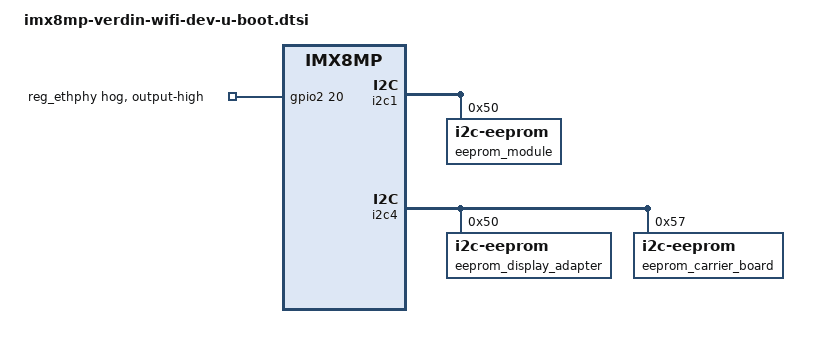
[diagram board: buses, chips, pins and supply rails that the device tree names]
// SPDX-License-Identifier: GPL-2.0-or-later OR MIT
/*
 * Copyright 2022 Toradex
 */

#include "imx8mp-sec-def.h"
#include "imx8mp-u-boot.dtsi"

/ {
	aliases {
		eeprom0 = &eeprom_module;
		eeprom1 = &eeprom_carrier_board;
		eeprom2 = &eeprom_display_adapter;
	};

	sysinfo {
		compatible = "toradex,sysinfo";
	};

	wdt-reboot {
		compatible = "wdt-reboot";
		bootph-pre-ram;
		wdt = <&wdog1>;
	};

	mcu_rdc {
		compatible = "imx8m,mcu_rdc";
			    /* rdc config when MCU starts
			     * master
			     *   SDMA3p --> domain 1
			     *   SDMA3b --> domain 1
			     *   SDMA3_SPBA2 --> domain 1
			     * peripheral:
			     *   SAI3   --> Only domain 1 can access
			     *   UART4  --> Only domain 1 can access
			     *   GPT1   --> Only domain 1 can access
			     *   SDMA3  --> Only domain 1 can access
			     *   I2C3   --> Only domain 1 can access
			     * memory:
			     *   TCM    --> Only domain 1 can access (0x7E0000~0x81FFFF)
			     *   DDR    --> Only domain 1 can access (0x80000000~0x81000000)
			     * end.
			     */
		start-config = <
			    RDC_MDA  RDC_MDA_SDMA3p DID1 0x0 0x0
			    RDC_MDA  RDC_MDA_SDMA3b DID1 0x0 0x0
			    RDC_MDA  RDC_MDA_SDMA3_SPBA2 DID1 0x0 0x0
			    RDC_PDAP RDC_PDAP_SAI3  PDAP_D1_ACCESS 0x0 0x0
			    RDC_PDAP RDC_PDAP_UART4 PDAP_D1_ACCESS 0x0 0x0
			    RDC_PDAP RDC_PDAP_GPT1  PDAP_D1_ACCESS 0x0 0x0
			    RDC_PDAP RDC_PDAP_SDMA3 PDAP_D1_ACCESS 0x0 0x0
			    RDC_PDAP RDC_PDAP_I2C3  PDAP_D1_ACCESS 0x0 0x0
			    RDC_MEM_REGION 22 TCM_START TCM_END MEM_D1_ACCESS
			    RDC_MEM_REGION 39 M4_DDR_START M4_DDR_END MEM_D1_ACCESS
			    0x0      0x0            0x0  0x0 0x0
			  >;
			    /* rdc config when MCU stops
			     * memory:
			     *   TCM    --> domain 0/1 can access (0x7E0000~0x81FFFF)
			     *   DDR    --> domain 0/1 can access (0x80000000~0x81000000)
			     * end.
			     */
		stop-config = <
			    RDC_MEM_REGION 22 TCM_START TCM_END MEM_D0D1_ACCESS
			    RDC_MEM_REGION 39 M4_DDR_START M4_DDR_END MEM_D0D1_ACCESS
			    0x0      0x0            0x0  0x0 0x0
			  >;
	};
};

&clk {
	bootph-all;
	bootph-pre-ram;
	/delete-property/ assigned-clocks;
	/delete-property/ assigned-clock-parents;
	/delete-property/ assigned-clock-rates;

};

&gpio1 {
	bootph-pre-ram;
};

&gpio2 {
	bootph-pre-ram;

	regulator-ethphy {
		gpio-hog;
		gpios = <20 GPIO_ACTIVE_HIGH>;
		line-name = "reg_ethphy";
		output-high;
		pinctrl-names = "default";
		pinctrl-0 = <&pinctrl_reg_eth>;
	};
};

&gpio3 {
	bootph-pre-ram;
};

&gpio4 {
	bootph-pre-ram;

	ctrl-sleep-moci-hog {
		bootph-pre-ram;
	};
};

&gpio5 {
	bootph-pre-ram;
};

&i2c1 {
	bootph-pre-ram;

	eeprom_module: eeprom@50 {
		compatible = "i2c-eeprom";
		pagesize = <16>;
		reg = <0x50>;
	};
};

&i2c2 {
	bootph-pre-ram;
};

&i2c3 {
	bootph-pre-ram;
};

&i2c4 {
	/* EEPROM on display adapter (MIPI DSI Display Adapter) */
	eeprom_display_adapter: eeprom@50 {
		compatible = "i2c-eeprom";
		pagesize = <16>;
		reg = <0x50>;
	};

	/* EEPROM on carrier board */
	eeprom_carrier_board: eeprom@57 {
		compatible = "i2c-eeprom";
		pagesize = <16>;
		reg = <0x57>;
	};
};

&pca9450 {
	bootph-pre-ram;
};

&pinctrl_ctrl_sleep_moci {
	bootph-pre-ram;
};

&pinctrl_i2c1 {
	bootph-pre-ram;
};

&pinctrl_usdhc2_pwr_en {
	bootph-pre-ram;
	u-boot,off-on-delay-us = <20000>;
};

&pinctrl_uart3 {
	bootph-pre-ram;
};

&pinctrl_usdhc2_cd {
	bootph-pre-ram;
};

&pinctrl_usdhc2 {
	bootph-pre-ram;
};

&pinctrl_usdhc3 {
	bootph-pre-ram;
};

&pinctrl_wdog {
	bootph-pre-ram;
};

&reg_usdhc2_vmmc {
	bootph-pre-ram;
};

&uart3 {
	bootph-pre-ram;
};

&usdhc1 {
	status = "disabled";
};

&usdhc2 {
	assigned-clock-parents = <&clk IMX8MP_SYS_PLL1_400M>;
	assigned-clock-rates = <400000000>;
	assigned-clocks = <&clk IMX8MP_CLK_USDHC2>;
	sd-uhs-ddr50;
	sd-uhs-sdr104;
	bootph-pre-ram;
};

&usdhc3 {
	assigned-clock-parents = <&clk IMX8MP_SYS_PLL1_400M>;
	assigned-clock-rates = <400000000>;
	assigned-clocks = <&clk IMX8MP_CLK_USDHC3>;
	mmc-hs400-1_8v;
	mmc-hs400-enhanced-strobe;
	bootph-pre-ram;
};

&wdog1 {
	bootph-pre-ram;
};
